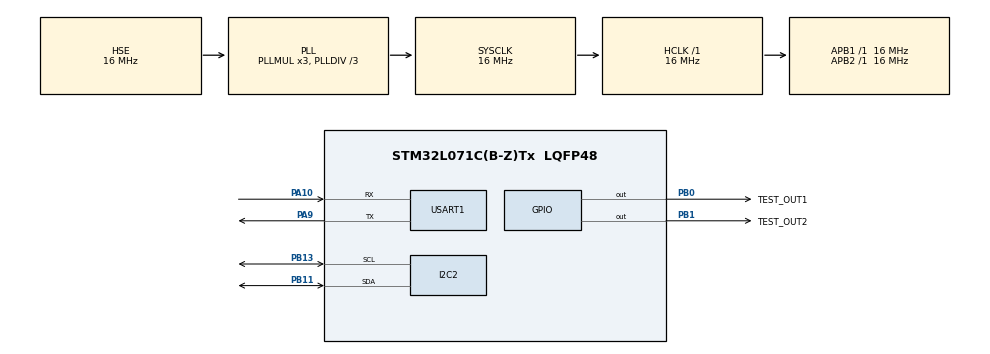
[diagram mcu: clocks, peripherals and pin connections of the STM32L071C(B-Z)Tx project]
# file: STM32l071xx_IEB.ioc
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I2C2.Timing=0x00303D5B
Mcu.Family=STM32L0
Mcu.Name=STM32L071C(B-Z)Tx
Mcu.Package=LQFP48
PA10.Mode=Asynchronous
PA10.Signal=USART1_RX
PA13.Mode=Serial_Wire
PA13.Signal=SYS_SWDIO
PA14.Mode=Serial_Wire
PA14.Signal=SYS_SWCLK
PA9.Mode=Asynchronous
PA9.Signal=USART1_TX
PB0.GPIO_Label=TEST_OUT1
PB0.Signal=GPIO_Output
PB1.GPIO_Label=TEST_OUT2
PB1.Signal=GPIO_Output
PB11.Mode=I2C
PB11.Signal=I2C2_SDA
PB13.Mode=I2C
PB13.Signal=I2C2_SCL
PH0-OSC_IN.Mode=HSE-External-Clock-Source
PH0-OSC_IN.Signal=RCC_OSC_IN
ProjectManager.HeapSize=0x200
ProjectManager.StackSize=0x400
ProjectManager.TargetToolchain=STM32CubeIDE
RCC.AHBFreq_Value=16000000
RCC.APB1Freq_Value=16000000
RCC.APB1TimFreq_Value=16000000
RCC.APB2Freq_Value=16000000
RCC.APB2TimFreq_Value=16000000
RCC.HCLKFreq_Value=16000000
RCC.HSE_VALUE=16000000
RCC.HSI16_VALUE=16000000
RCC.HSI_VALUE=16000000
RCC.LSE_VALUE=32768
RCC.MSI_VALUE=2097000
RCC.PLLDIV=RCC_PLLDIV_3
RCC.PLLSourceVirtual=RCC_PLLSOURCE_HSE
RCC.SYSCLKFreq_VALUE=16000000
RCC.SYSCLKSource=RCC_SYSCLKSOURCE_PLLCLK
RCC.VCOOutputFreq_Value=48000000
USART1.VirtualMode-Asynchronous=VM_ASYNC
board=custom

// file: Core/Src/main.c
/* USER CODE BEGIN Header */
/**
  ******************************************************************************
  * @file           : main.c
  * @brief          : Main program body
  ******************************************************************************
  * @attention
  *
  * Copyright (c) 2022 STMicroelectronics.
  * All rights reserved.
  *
  * This software is licensed under terms that can be found in the LICENSE file
  * in the root directory of this software component.
  * If no LICENSE file comes with this software, it is provided AS-IS.
  *
  ******************************************************************************
  */
/* USER CODE END Header */
#include "main.h"

/* USER CODE BEGIN Includes */
#include "printf.h"
/* USER CODE END Includes */

I2C_HandleTypeDef hi2c2;

UART_HandleTypeDef huart1;

void SystemClock_Config(void);
static void MX_GPIO_Init(void);
static void MX_USART1_UART_Init(void);
static void MX_I2C2_Init(void);

/* USER CODE BEGIN 0 */
/**
  * @brief I2C Bus Scan
  * @param None
  * @retval None
  */
void scan_i2c2(){
	HAL_StatusTypeDef result;
	uint8_t i =0;

	printf("--------------------\r\n");
	printf("Scanning IEB I2C2...\r\n");

	for (i=0; i<128; i++){
		result = HAL_I2C_IsDeviceReady(&hi2c2, (uint16_t)(i<<1), 2, 2);

		if (result == HAL_OK){
			printf("I2C address found: 0x%X\r\n", (uint16_t)(i<<1));
		}
	}
	printf("I2C Scan Complete\r\n--------------------\r\n");
	HAL_Delay(1000);
}

uint8_t hi2c2_read_register(uint8_t addr, uint16_t register_pointer)
{
    HAL_StatusTypeDef status = HAL_OK;
    uint16_t return_value = 0;

    status = HAL_I2C_Mem_Read(&hi2c2, addr, (uint16_t)register_pointer, I2C_MEMADD_SIZE_8BIT, &return_value, 2, 100);

    /* Check the communication status */
    if(status != HAL_OK)
    {
        // Error handling, for example re-initialization of the I2C peripheral
    	printf("I2C read from 0x%x failed...\r\n", register_pointer );
    }
    else{
    	printf("I2C read from 0x%x was successful!\r\n", register_pointer );
    }
    return return_value;
}

void hi2c2_write_register(uint8_t addr, uint16_t register_pointer, uint8_t register_value)
{
    HAL_StatusTypeDef status;

    status = HAL_I2C_Mem_Write(&hi2c2, addr, (uint16_t)register_pointer, I2C_MEMADD_SIZE_8BIT, register_value, 2, 100);

    /* Check the communication status */
    if(status != HAL_OK)
    {
        // Error handling, for example re-initialization of the I2C peripheral
    	printf("I2C write to 0x%x failed...\r\n", register_pointer );
    }
    else{
    	printf("I2C write was successful\r\n");
    }
}
/* USER CODE END 0 */

int main(void)
{

  /* MCU Configuration--------------------------------------------------------*/

  /* Reset of all peripherals, Initializes the Flash interface and the Systick. */
  HAL_Init();

  /* Configure the system clock */
  SystemClock_Config();

  /* Initialize all configured peripherals */
  MX_GPIO_Init();
  MX_USART1_UART_Init();
  MX_I2C2_Init();

  /* Infinite loop */
  /* USER CODE BEGIN WHILE */
  uint8_t rtn;
  scan_i2c2();
//  printf("Reading 0x3801 from 0x79; expecting 0xB4\r\n");
//  rtn = hi2c2_read_register(0x79, 0X3801);
//  printf("Read 0x%X from 0x3801 at 0x79\r\n", rtn);
//  printf("Reading 0x3801 from 0x7D; expecting 0xB4\r\n");
//  rtn = hi2c2_read_register(0x7D, 0X3801);
//  printf("Read 0x%X from 0x3801\r\n", rtn);
//
//  printf("\r\nWriting 0xa8 to 0x3801 on 0x78\r\n");
//  hi2c2_write_register(0x79, 0x3801, 0x0A8);
//  printf("Writing 0xa8 to 0x3801 on 0x7C\r\n");
//  hi2c2_write_register(0x7D, 0x3801, 0x0A8);
//
//  printf("Reading 0x3801 from 0x79; expecting 0xA8\r\n");
//  rtn = hi2c2_read_register(0x79, 0X3801);
//  printf("Read 0x%X from 0x3801 at 0x79\r\n", rtn);
//  printf("Reading 0x3801 from 0x7D; expecting 0xa8\r\n");
//  rtn = hi2c2_read_register(0x7D, 0X3801);
//  printf("Read 0x%X from 0x3801\r\n", rtn);

  printf("Reading 0x3004 from 0x79; expecting 0xDF\r\n");
  rtn = hi2c2_read_register(0x79, 0X3004);
  printf("Read 0x%X from 0x3004 at 0x79\r\n", rtn);
  printf("Reading 0x3004 from 0x7D; expecting 0xDF\r\n");
  rtn = hi2c2_read_register(0x7D, 0X3004);
  printf("Read 0x%X from 0x3004\r\n", rtn);

  printf("Reading 0x300B from 0x79; expecting 0x42\r\n");
  rtn = hi2c2_read_register(0x79, 0X300B);
  printf("Read 0x%X from 0x3005 at 0x79\r\n", rtn);
  printf("Reading 0x300B from 0x7D; expecting 0x42\r\n");
  rtn = hi2c2_read_register(0x7D, 0X300B);
  printf("Read 0x%X from 0x300B\r\n", rtn);

  printf("Reading 0x300A from 0x79; expecting 0x56\r\n");
  rtn = hi2c2_read_register(0x79, 0X300A);
  printf("Read 0x%X from 0x300A at 0x79\r\n", rtn);
  printf("Reading 0x300A from 0x7D; expecting 0x56\r\n");
  rtn = hi2c2_read_register(0x7D, 0X300A);
  printf("Read 0x%X from 0x300A\r\n", rtn);
  while (1)
  {
	  HAL_GPIO_TogglePin(TEST_OUT1_GPIO_Port, TEST_OUT1_Pin);
	  HAL_Delay(100);
//	  HAL_GPIO_TogglePin(TEST_OUT1_GPIO_Port, TEST_OUT1_Pin);
////	  HAL_Delay(250);
////	  HAL_GPIO_TogglePin(TEST_OUT2_GPIO_Port, TEST_OUT2_Pin);
//	  printf("Don't Panic!\r\n");
    /* USER CODE END WHILE */

  }
}

void SystemClock_Config(void)
{
  RCC_OscInitTypeDef RCC_OscInitStruct = {0};
  RCC_ClkInitTypeDef RCC_ClkInitStruct = {0};
  RCC_PeriphCLKInitTypeDef PeriphClkInit = {0};

  /** Configure the main internal regulator output voltage
  */
  __HAL_PWR_VOLTAGESCALING_CONFIG(PWR_REGULATOR_VOLTAGE_SCALE1);
  /** Initializes the RCC Oscillators according to the specified parameters
  * in the RCC_OscInitTypeDef structure.
  */
  RCC_OscInitStruct.OscillatorType = RCC_OSCILLATORTYPE_HSE;
  RCC_OscInitStruct.HSEState = RCC_HSE_BYPASS;
  RCC_OscInitStruct.PLL.PLLState = RCC_PLL_ON;
  RCC_OscInitStruct.PLL.PLLSource = RCC_PLLSOURCE_HSE;
  RCC_OscInitStruct.PLL.PLLMUL = RCC_PLLMUL_3;
  RCC_OscInitStruct.PLL.PLLDIV = RCC_PLLDIV_3;
  if (HAL_RCC_OscConfig(&RCC_OscInitStruct) != HAL_OK)
  {
    Error_Handler();
  }
  /** Initializes the CPU, AHB and APB buses clocks
  */
  RCC_ClkInitStruct.ClockType = RCC_CLOCKTYPE_HCLK|RCC_CLOCKTYPE_SYSCLK
                              |RCC_CLOCKTYPE_PCLK1|RCC_CLOCKTYPE_PCLK2;
  RCC_ClkInitStruct.SYSCLKSource = RCC_SYSCLKSOURCE_PLLCLK;
  RCC_ClkInitStruct.AHBCLKDivider = RCC_SYSCLK_DIV1;
  RCC_ClkInitStruct.APB1CLKDivider = RCC_HCLK_DIV1;
  RCC_ClkInitStruct.APB2CLKDivider = RCC_HCLK_DIV1;

  if (HAL_RCC_ClockConfig(&RCC_ClkInitStruct, FLASH_LATENCY_0) != HAL_OK)
  {
    Error_Handler();
  }
  PeriphClkInit.PeriphClockSelection = RCC_PERIPHCLK_USART1;
  PeriphClkInit.Usart1ClockSelection = RCC_USART1CLKSOURCE_PCLK2;
  if (HAL_RCCEx_PeriphCLKConfig(&PeriphClkInit) != HAL_OK)
  {
    Error_Handler();
  }
}

static void MX_I2C2_Init(void)
{

  hi2c2.Instance = I2C2;
  hi2c2.Init.Timing = 0x00303D5B;
  hi2c2.Init.OwnAddress1 = 0;
  hi2c2.Init.AddressingMode = I2C_ADDRESSINGMODE_7BIT;
  hi2c2.Init.DualAddressMode = I2C_DUALADDRESS_DISABLE;
  hi2c2.Init.OwnAddress2 = 0;
  hi2c2.Init.OwnAddress2Masks = I2C_OA2_NOMASK;
  hi2c2.Init.GeneralCallMode = I2C_GENERALCALL_DISABLE;
  hi2c2.Init.NoStretchMode = I2C_NOSTRETCH_DISABLE;
  if (HAL_I2C_Init(&hi2c2) != HAL_OK)
  {
    Error_Handler();
  }
  /** Configure Analogue filter
  */
  if (HAL_I2CEx_ConfigAnalogFilter(&hi2c2, I2C_ANALOGFILTER_ENABLE) != HAL_OK)
  {
    Error_Handler();
  }
  /** Configure Digital filter
  */
  if (HAL_I2CEx_ConfigDigitalFilter(&hi2c2, 0) != HAL_OK)
  {
    Error_Handler();
  }

}

static void MX_USART1_UART_Init(void)
{

  huart1.Instance = USART1;
  huart1.Init.BaudRate = 115200;
  huart1.Init.WordLength = UART_WORDLENGTH_8B;
  huart1.Init.StopBits = UART_STOPBITS_1;
  huart1.Init.Parity = UART_PARITY_NONE;
  huart1.Init.Mode = UART_MODE_TX_RX;
  huart1.Init.HwFlowCtl = UART_HWCONTROL_NONE;
  huart1.Init.OverSampling = UART_OVERSAMPLING_16;
  huart1.Init.OneBitSampling = UART_ONE_BIT_SAMPLE_DISABLE;
  huart1.AdvancedInit.AdvFeatureInit = UART_ADVFEATURE_NO_INIT;
  if (HAL_UART_Init(&huart1) != HAL_OK)
  {
    Error_Handler();
  }

}

static void MX_GPIO_Init(void)
{
  GPIO_InitTypeDef GPIO_InitStruct = {0};

  /* GPIO Ports Clock Enable */
  __HAL_RCC_GPIOH_CLK_ENABLE();
  __HAL_RCC_GPIOB_CLK_ENABLE();
  __HAL_RCC_GPIOA_CLK_ENABLE();

  /*Configure GPIO pin Output Level */
  HAL_GPIO_WritePin(GPIOB, TEST_OUT1_Pin|TEST_OUT2_Pin, GPIO_PIN_RESET);

  /*Configure GPIO pins : TEST_OUT1_Pin TEST_OUT2_Pin */
  GPIO_InitStruct.Pin = TEST_OUT1_Pin|TEST_OUT2_Pin;
  GPIO_InitStruct.Mode = GPIO_MODE_OUTPUT_PP;
  GPIO_InitStruct.Pull = GPIO_NOPULL;
  GPIO_InitStruct.Speed = GPIO_SPEED_FREQ_LOW;
  HAL_GPIO_Init(GPIOB, &GPIO_InitStruct);

}

void Error_Handler(void)
{
  __disable_irq();
  while (1)
  {
  }
}
